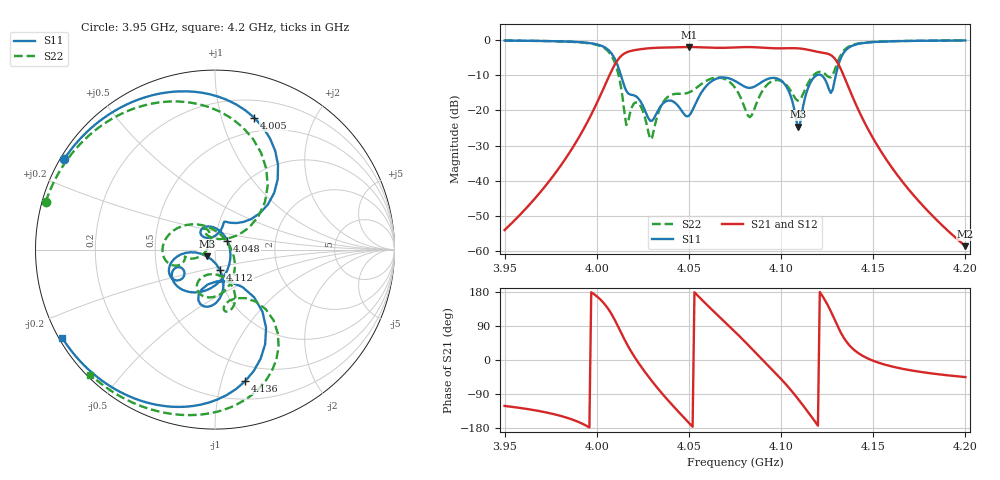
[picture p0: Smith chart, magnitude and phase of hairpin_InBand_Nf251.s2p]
! Sonnet Data File
! From: em Version : 18.56
! From Project: hairpin_InBand_Nf201
! Data is De-embedded
! Data File Written: 03/21/2023 12:17:24
!< HDATE 10/24/2012 11:01:19
!< MDATE 10/24/2012 11:01:19
# GHZ S MA R 50.00000
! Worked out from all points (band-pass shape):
!   251 points, 3.95 GHz to 4.2 GHz, reference 50 ohm
!   highest |S21| = -2.01 dB at 4.05 GHz (marker M1); lowest = -58.5 dB at 4.2 GHz (marker M2)
!   |S21| within 3 dB of the highest: 4.012 GHz to 4.129 GHz (116.2 MHz wide, 2.85 % of centre)
!   lowest |S11| = -24.6 dB at 4.109 GHz (marker M3), VSWR 1.12, Z = 45.5 - j3.4 ohm
!   |S11| at or under -10 dB: 4.013 GHz to 4.119 GHz (106.3 MHz wide, 2.61 % of centre); 4.121759 GHz to 4.129706 GHz (7.948 MHz wide, 0.193 % of centre)
!   |S22| runs from -28.2 to -0.1 dB; largest |S21 - S12| = 4e-12
!   S11 on the Smith chart (normalised r, x): 3.95 GHz: 0.01, +0.28; 4.005 GHz: 0.36, +1.28; 4.048 GHz: 1.14, +0.11; 4.112 GHz: 1.03, -0.23; 4.136 GHz: 0.35, -1.19; 4.2 GHz: 0.01, -0.27
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3.95  0.9799 149.0  0.002007 -121.2  0.002007 -121.2  0.98 164.2
3.992  0.9248 110.7  0.04952 -167.7  0.04952 -167.7  0.9194 124.8
4.005  0.7659 73.3  0.2452 143.0  0.2452 143.0  0.7362 82.7
4.011  0.4576 43.8  0.5026 94.0  0.5026 94.0  0.3846 43.6
4.016  0.1904 51.0  0.6636 45.2  0.6636 45.2  0.06206 70.1
4.024  0.1308 72.0  0.7405 -17.1  0.7405 -17.1  0.1124 109.4
4.029  0.07126 100.2  0.7649 -49.9  0.7649 -49.9  0.03908 145.2
4.034  0.1079 133.4  0.7764 -80.1  0.7764 -80.1  0.1023 -155.6
4.048  0.08491 36.0  0.7923 -155.7  0.7923 -155.7  0.1738 -164.1
4.05  0.08394 -0.3  0.793 -166.0  0.793 -166.0  0.1798 -161.0
4.063  0.2665 -116.5  0.775 130.3  0.775 130.3  0.2871 -170.6
4.075  0.262 -153.5  0.783 74.6  0.783 74.6  0.2099 139.2
4.083  0.2088 -147.0  0.7919 35.3  0.7919 35.3  0.08018 37.2
4.091  0.2662 -140.0  0.7744 -4.9  0.7744 -4.9  0.2094 -66.4
4.102  0.2352 -166.8  0.7614 -60.8  0.7614 -60.8  0.2421 -114.3
4.109  0.05873 -140.6  0.7604 -101.4  0.7604 -101.4  0.1375 -96.4
4.112  0.1159 -76.4  0.7462 -120.4  0.7462 -120.4  0.1728 -70.2
4.117  0.2766 -85.0  0.7035 -153.0  0.7035 -153.0  0.3038 -68.3
4.128  0.1959 -66.0  0.5833 118.0  0.5833 118.0  0.3189 -58.0
4.136  0.7528 -77.2  0.2324 45.0  0.2324 45.0  0.7836 -68.9
4.159  0.9558 -125.3  0.01699 -15.7  0.01699 -15.7  0.9586 -111.4
4.2  0.9832 -149.9  0.001185 -45.0  0.001185 -45.0  0.9836 -134.9
